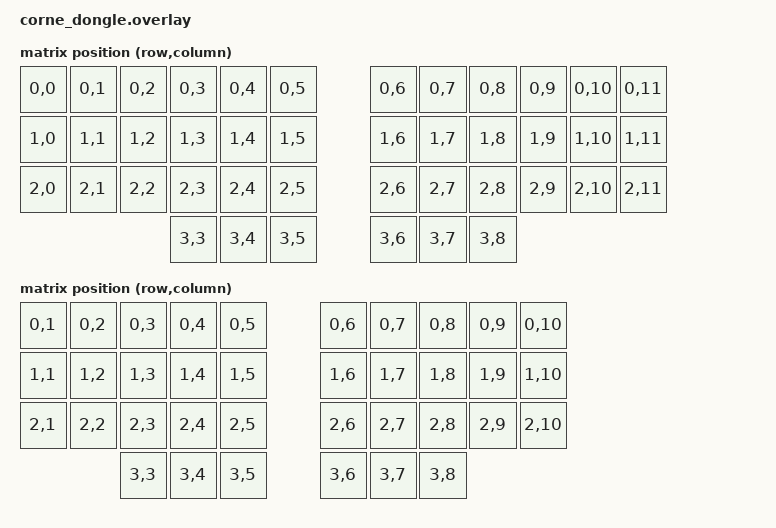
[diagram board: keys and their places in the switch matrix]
/*
 * Dongle-side shield for the Corne: no matrix of its own, it just acts as the
 * split central and hosts the keymap.
 *
 * The physical layouts and matrix transforms below must stay identical to
 * corne.dtsi -- same nodes, same labels, same include order. The central
 * pushes the selected layout to peripherals as an index, so a shorter or
 * reordered list here silently selects a different transform on the halves.
 */

#include <dt-bindings/zmk/matrix_transform.h>

#include <layouts/foostan/corne/5column.dtsi>
#include <layouts/foostan/corne/6column.dtsi>

&foostan_corne_6col_layout {
    transform = <&default_transform>;
};

&foostan_corne_5col_layout {
    transform = <&five_column_transform>;
};

/ {
    chosen {
        zmk,kscan = &mock_kscan;
        zmk,physical-layout = &foostan_corne_6col_layout;
    };

    default_transform: keymap_transform_0 {
        compatible = "zmk,matrix-transform";
        columns = <12>;
        rows = <4>;
        map = <
RC(0,0) RC(0,1) RC(0,2) RC(0,3) RC(0,4) RC(0,5)  RC(0,6) RC(0,7) RC(0,8) RC(0,9) RC(0,10) RC(0,11)
RC(1,0) RC(1,1) RC(1,2) RC(1,3) RC(1,4) RC(1,5)  RC(1,6) RC(1,7) RC(1,8) RC(1,9) RC(1,10) RC(1,11)
RC(2,0) RC(2,1) RC(2,2) RC(2,3) RC(2,4) RC(2,5)  RC(2,6) RC(2,7) RC(2,8) RC(2,9) RC(2,10) RC(2,11)
                        RC(3,3) RC(3,4) RC(3,5)  RC(3,6) RC(3,7) RC(3,8)
        >;
    };

    five_column_transform: keymap_transform_1 {
        compatible = "zmk,matrix-transform";
        columns = <10>;
        rows = <4>;
        map = <
RC(0,1) RC(0,2) RC(0,3) RC(0,4) RC(0,5)  RC(0,6) RC(0,7) RC(0,8) RC(0,9) RC(0,10)
RC(1,1) RC(1,2) RC(1,3) RC(1,4) RC(1,5)  RC(1,6) RC(1,7) RC(1,8) RC(1,9) RC(1,10)
RC(2,1) RC(2,2) RC(2,3) RC(2,4) RC(2,5)  RC(2,6) RC(2,7) RC(2,8) RC(2,9) RC(2,10)
                        RC(3,3) RC(3,4) RC(3,5)  RC(3,6) RC(3,7) RC(3,8)
        >;
    };

    mock_kscan: mock_kscan_0 {
        compatible = "zmk,kscan-mock";
        columns = <0>;
        rows = <0>;
        events = <0>;
    };
};
